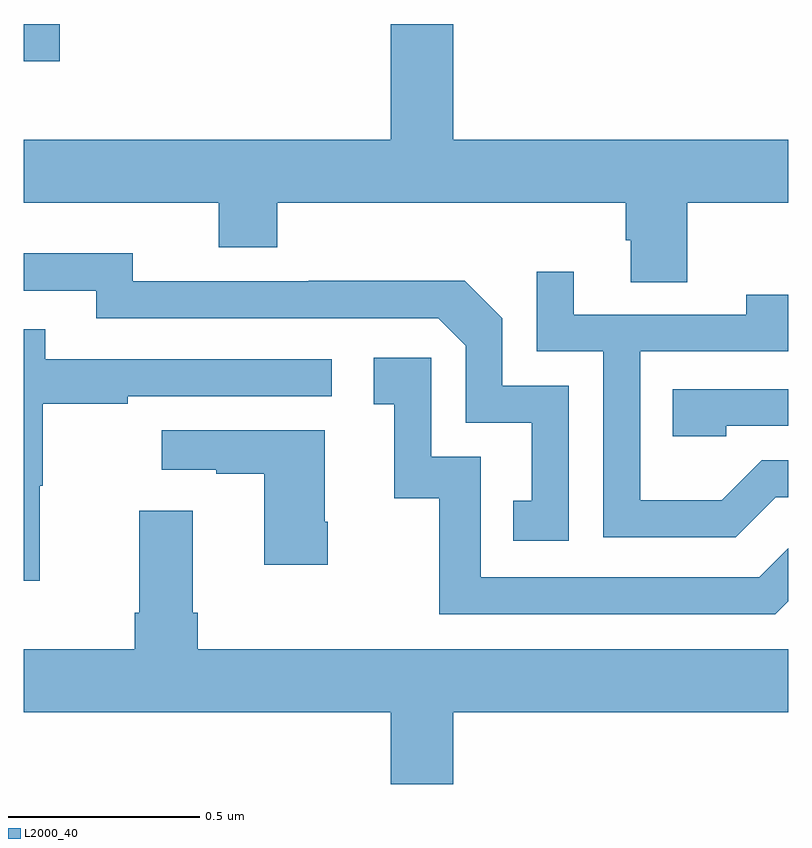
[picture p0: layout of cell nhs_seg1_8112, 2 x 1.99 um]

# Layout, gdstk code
import gdstk
lib = gdstk.Library(unit=1e-6, precision=1e-09)
def R(c, l, rs):  # rectangles x0, y0, x1, y1
    for r in rs: c.add(gdstk.rectangle(r[:2], r[2:], *l))
def P(c, l, *ps):  # polygons
    for p in ps: c.add(gdstk.Polygon(p, *l))
L2000_40 = (2000, 40)

nhs_seg1_8112 = lib.new_cell('nhs_seg1_8112')
R(nhs_seg1_8112, L2000_40, [(212,552.101,212.095,552.198)])
P(nhs_seg1_8112, L2000_40, [(213.735,551.732),(214,551.732),(214,551.896),(213.124,551.896),(213.124,552.199),(212.96,552.199),(212.96,551.896),(212,551.896),(212,551.732),(212.51,551.732),(212.51,551.615),(212.663,551.615),(212.663,551.732),(213.575,551.732),(213.575,551.634),(213.587,551.634),(213.587,551.524),(213.735,551.524)],
  [(213.426,551.253),(213.252,551.253),(213.252,551.43),(213.154,551.528),(212.746,551.528),(212.746,551.526),(212.286,551.526),(212.286,551.599),(212,551.599),(212,551.502),(212.19,551.502),(212.19,551.43),(213.084,551.43),(213.156,551.358),(213.156,551.157),(213.329,551.157),(213.329,550.953),(213.28,550.953),(213.28,550.848),(213.426,550.848)],
  [(213.967,550.962),(214,550.962),(214,551.058),(213.93,551.058),(213.826,550.954),(213.612,550.954),(213.612,551.343),(214,551.343),(214,551.491),(213.89,551.491),(213.89,551.439),(213.439,551.439),(213.439,551.551),(213.342,551.551),(213.342,551.343),(213.516,551.343),(213.516,550.857),(213.862,550.857)],
  [(212.042,550.992),(212.05,550.992),(212.05,551.206),(212.273,551.206),(212.273,551.226),(212.806,551.226),(212.806,551.322),(212.057,551.322),(212.057,551.401),(212,551.401),(212,550.743),(212.042,550.743)],
  [(214,550.69),(214,550.828),(213.924,550.752),(213.195,550.752),(213.195,551.067),(213.066,551.067),(213.066,551.326),(212.916,551.326),(212.916,551.205),(212.969,551.205),(212.969,550.959),(213.087,550.959),(213.087,550.656),(213.966,550.656)],
  [(213.837,551.148),(214,551.148),(214,551.244),(213.697,551.244),(213.697,551.121),(213.837,551.121)],
  [(212.796,550.897),(212.788,550.897),(212.788,551.137),(212.361,551.137),(212.361,551.033),(212.504,551.033),(212.504,551.023),(212.63,551.023),(212.63,550.785),(212.796,550.785)],
  [(213.124,550.4),(214,550.4),(214,550.564),(212.456,550.564),(212.456,550.66),(212.443,550.66),(212.443,550.927),(212.303,550.927),(212.303,550.66),(212.291,550.66),(212.291,550.564),(212,550.564),(212,550.4),(212.96,550.4),(212.96,550.212),(213.124,550.212)])

lib.write_gds('nhs_seg1_8112.gds')
